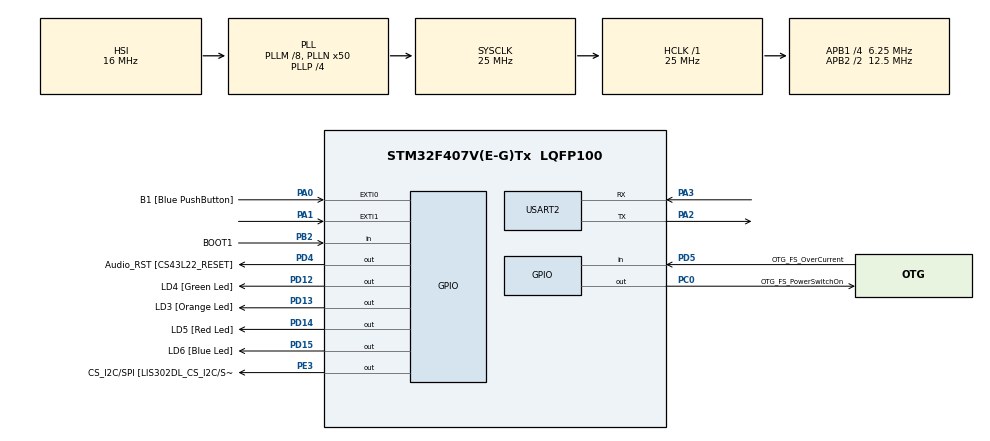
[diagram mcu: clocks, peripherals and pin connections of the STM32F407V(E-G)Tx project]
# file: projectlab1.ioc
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Mcu.Family=STM32F4
Mcu.Name=STM32F407V(E-G)Tx
Mcu.Package=LQFP100
NVIC.EXTI1_IRQn=true\:0\:0\:false\:false\:true\:true
NVIC.PriorityGroup=NVIC_PRIORITYGROUP_0
PA0-WKUP.GPIO_Label=B1 [Blue PushButton]
PA0-WKUP.Signal=GPXTI0
PA1.Signal=GPXTI1
PA10.GPIO_Label=OTG_FS_ID
PA10.GPIO_Mode=GPIO_MODE_AF_PP
PA10.GPIO_PuPd=GPIO_NOPULL
PA10.GPIO_Speed=GPIO_SPEED_FREQ_LOW
PA10.Signal=USB_OTG_FS_ID
PA11.GPIO_Label=OTG_FS_DM
PA11.GPIO_Mode=GPIO_MODE_AF_PP
PA11.GPIO_PuPd=GPIO_NOPULL
PA11.GPIO_Speed=GPIO_SPEED_FREQ_LOW
PA11.Signal=USB_OTG_FS_DM
PA12.GPIO_Label=OTG_FS_DP
PA12.GPIO_Mode=GPIO_MODE_AF_PP
PA12.GPIO_PuPd=GPIO_NOPULL
PA12.GPIO_Speed=GPIO_SPEED_FREQ_LOW
PA12.Signal=USB_OTG_FS_DP
PA13.GPIO_Label=SWDIO
PA13.Signal=SYS_JTMS-SWDIO
PA14.GPIO_Label=SWCLK
PA14.Signal=SYS_JTCK-SWCLK
PA2.Mode=Asynchronous
PA2.Signal=USART2_TX
PA3.Mode=Asynchronous
PA3.Signal=USART2_RX
PA4.GPIO_Label=I2S3_WS [CS43L22_LRCK]
PA4.GPIO_Mode=GPIO_MODE_AF_PP
PA4.GPIO_PuPd=GPIO_NOPULL
PA4.GPIO_Speed=GPIO_SPEED_FREQ_LOW
PA4.Signal=I2S3_WS
PA5.GPIO_Label=SPI1_SCK [LIS302DL_SCL/SPC]
PA5.GPIO_Mode=GPIO_MODE_AF_PP
PA5.GPIO_PuPd=GPIO_NOPULL
PA5.GPIO_Speed=GPIO_SPEED_FREQ_LOW
PA5.Signal=SPI1_SCK
PA6.GPIO_Label=SPI1_MISO [LIS302DL_SDO]
PA6.GPIO_Mode=GPIO_MODE_AF_PP
PA6.GPIO_PuPd=GPIO_NOPULL
PA6.GPIO_Speed=GPIO_SPEED_FREQ_LOW
PA6.Signal=SPI1_MISO
PA7.GPIO_Label=SPI1_MOSI [LIS302DL_SDA/SDI/SDO]
PA7.GPIO_Mode=GPIO_MODE_AF_PP
PA7.GPIO_PuPd=GPIO_NOPULL
PA7.GPIO_Speed=GPIO_SPEED_FREQ_LOW
PA7.Signal=SPI1_MOSI
PA9.GPIO_Label=VBUS_FS
PA9.GPIO_Mode=GPIO_MODE_INPUT
PA9.GPIO_PuPd=GPIO_NOPULL
PA9.Signal=USB_OTG_FS_VBUS
PB10.GPIO_Label=CLK_IN [MP45DT02_CLK]
PB10.GPIO_Mode=GPIO_MODE_AF_PP
PB10.GPIO_PuPd=GPIO_NOPULL
PB10.GPIO_Speed=GPIO_SPEED_FREQ_LOW
PB10.Signal=I2S2_CK
PB2.GPIO_Label=BOOT1
PB2.GPIO_Mode=GPIO_MODE_INPUT
PB2.GPIO_PuPd=GPIO_NOPULL
PB2.Signal=GPIO_Input
PB3.GPIO_Label=SWO
PB3.Signal=SYS_JTDO-SWO
PB6.GPIO_Label=Audio_SCL [CS43L22_SCL]
PB6.GPIO_Mode=GPIO_MODE_AF_OD
PB6.GPIO_PuPd=GPIO_NOPULL
PB6.GPIO_Speed=GPIO_SPEED_FREQ_LOW
PB6.Signal=I2C1_SCL
PB9.GPIO_Label=Audio_SDA [CS43L22_SDA]
PB9.GPIO_Mode=GPIO_MODE_AF_OD
PB9.GPIO_PuPd=GPIO_NOPULL
PB9.GPIO_Speed=GPIO_SPEED_FREQ_LOW
PB9.Signal=I2C1_SDA
PC0.GPIO_Label=OTG_FS_PowerSwitchOn
PC0.GPIO_PuPd=GPIO_NOPULL
PC0.GPIO_Speed=GPIO_SPEED_FREQ_LOW
PC0.PinState=GPIO_PIN_SET
PC0.Signal=GPIO_Output
PC10.GPIO_Label=I2S3_SCK [CS43L22_SCLK]
PC10.GPIO_Mode=GPIO_MODE_AF_PP
PC10.GPIO_PuPd=GPIO_NOPULL
PC10.GPIO_Speed=GPIO_SPEED_FREQ_LOW
PC10.Signal=I2S3_CK
PC12.GPIO_Label=I2S3_SD [CS43L22_SDIN]
PC12.GPIO_Mode=GPIO_MODE_AF_PP
PC12.GPIO_PuPd=GPIO_NOPULL
PC12.GPIO_Speed=GPIO_SPEED_FREQ_LOW
PC12.Signal=I2S3_SD
PC14-OSC32_IN.GPIO_Label=PC14-OSC32_IN
PC14-OSC32_IN.Signal=RCC_OSC32_IN
PC15-OSC32_OUT.GPIO_Label=PC15-OSC32_OUT
PC15-OSC32_OUT.Signal=RCC_OSC32_OUT
PC3.GPIO_Label=PDM_OUT [MP45DT02_DOUT]
PC3.GPIO_Mode=GPIO_MODE_AF_PP
PC3.GPIO_PuPd=GPIO_NOPULL
PC3.GPIO_Speed=GPIO_SPEED_FREQ_LOW
PC3.Signal=I2S2_SD
PC7.GPIO_Label=I2S3_MCK [CS43L22_MCLK]
PC7.GPIO_Mode=GPIO_MODE_AF_PP
PC7.GPIO_PuPd=GPIO_NOPULL
PC7.GPIO_Speed=GPIO_SPEED_FREQ_LOW
PC7.Signal=I2S3_MCK
PD12.GPIO_Label=LD4 [Green Led]
PD12.GPIO_PuPd=GPIO_NOPULL
PD12.GPIO_Speed=GPIO_SPEED_FREQ_LOW
PD12.Signal=GPIO_Output
PD13.GPIO_Label=LD3 [Orange Led]
PD13.GPIO_PuPd=GPIO_NOPULL
PD13.GPIO_Speed=GPIO_SPEED_FREQ_LOW
PD13.Signal=GPIO_Output
PD14.GPIO_Label=LD5 [Red Led]
PD14.GPIO_PuPd=GPIO_NOPULL
PD14.GPIO_Speed=GPIO_SPEED_FREQ_LOW
PD14.Signal=GPIO_Output
PD15.GPIO_Label=LD6 [Blue Led]
PD15.GPIO_PuPd=GPIO_NOPULL
PD15.GPIO_Speed=GPIO_SPEED_FREQ_LOW
PD15.Signal=GPIO_Output
PD4.GPIO_Label=Audio_RST [CS43L22_RESET]
PD4.GPIO_PuPd=GPIO_NOPULL
PD4.GPIO_Speed=GPIO_SPEED_FREQ_LOW
PD4.Signal=GPIO_Output
PD5.GPIO_Label=OTG_FS_OverCurrent
PD5.GPIO_Mode=GPIO_MODE_INPUT
PD5.GPIO_PuPd=GPIO_NOPULL
PD5.Signal=GPIO_Input
PE3.GPIO_Label=CS_I2C/SPI [LIS302DL_CS_I2C/SPI]
PE3.GPIO_PuPd=GPIO_NOPULL
PE3.GPIO_Speed=GPIO_SPEED_FREQ_LOW
PE3.Signal=GPIO_Output
PH0-OSC_IN.GPIO_Label=PH0-OSC_IN
PH0-OSC_IN.Signal=RCC_OSC_IN
PH1-OSC_OUT.GPIO_Label=PH1-OSC_OUT
PH1-OSC_OUT.Signal=RCC_OSC_OUT
ProjectManager.HeapSize=0x200
ProjectManager.StackSize=0x400
ProjectManager.TargetToolchain=SW4STM32
RCC.48MHZClocksFreq_Value=14285714.285714285
RCC.AHBFreq_Value=25000000
RCC.APB1CLKDivider=RCC_HCLK_DIV4
RCC.APB1Freq_Value=6250000
RCC.APB1TimFreq_Value=12500000
RCC.APB2CLKDivider=RCC_HCLK_DIV2
RCC.APB2Freq_Value=12500000
RCC.APB2TimFreq_Value=25000000
RCC.CortexFreq_Value=25000000
RCC.HCLKFreq_Value=25000000
RCC.HSE_VALUE=8000000
RCC.HSI_VALUE=16000000
RCC.LSE_VALUE=32768
RCC.PLLM=8
RCC.PLLN=50
RCC.PLLP=RCC_PLLP_DIV4
RCC.PLLQ=7
RCC.SYSCLKFreq_VALUE=25000000
RCC.SYSCLKSource=RCC_SYSCLKSOURCE_PLLCLK
RCC.VCOOutputFreq_Value=100000000
USART2.VirtualMode=VM_ASYNC
board=STM32F4DISCOVERY

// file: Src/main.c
/**
  ******************************************************************************
  * File Name          : main.c
  * Description        : Main program body
  ******************************************************************************
  ** This notice applies to any and all portions of this file
  * that are not between comment pairs USER CODE BEGIN and
  * USER CODE END. Other portions of this file, whether
  * inserted by the user or by software development tools
  * are owned by their respective copyright owners.
  *
  * COPYRIGHT(c) 2017 STMicroelectronics
  *
  * Redistribution and use in source and binary forms, with or without modification,
  * are permitted provided that the following conditions are met:
  *   1. Redistributions of source code must retain the above copyright notice,
  *      this list of conditions and the following disclaimer.
  *   2. Redistributions in binary form must reproduce the above copyright notice,
  *      this list of conditions and the following disclaimer in the documentation
  *      and/or other materials provided with the distribution.
  *   3. Neither the name of STMicroelectronics nor the names of its contributors
  *      may be used to endorse or promote products derived from this software
  *      without specific prior written permission.
  *
  * THIS SOFTWARE IS PROVIDED BY THE COPYRIGHT HOLDERS AND CONTRIBUTORS "AS IS"
  * AND ANY EXPRESS OR IMPLIED WARRANTIES, INCLUDING, BUT NOT LIMITED TO, THE
  * IMPLIED WARRANTIES OF MERCHANTABILITY AND FITNESS FOR A PARTICULAR PURPOSE ARE
  * DISCLAIMED. IN NO EVENT SHALL THE COPYRIGHT HOLDER OR CONTRIBUTORS BE LIABLE
  * FOR ANY DIRECT, INDIRECT, INCIDENTAL, SPECIAL, EXEMPLARY, OR CONSEQUENTIAL
  * DAMAGES (INCLUDING, BUT NOT LIMITED TO, PROCUREMENT OF SUBSTITUTE GOODS OR
  * SERVICES; LOSS OF USE, DATA, OR PROFITS; OR BUSINESS INTERRUPTION) HOWEVER
  * CAUSED AND ON ANY THEORY OF LIABILITY, WHETHER IN CONTRACT, STRICT LIABILITY,
  * OR TORT (INCLUDING NEGLIGENCE OR OTHERWISE) ARISING IN ANY WAY OUT OF THE USE
  * OF THIS SOFTWARE, EVEN IF ADVISED OF THE POSSIBILITY OF SUCH DAMAGE.
  *
  ******************************************************************************
  */

#include "main.h"
#include "stm32f4xx_hal.h"

UART_HandleTypeDef huart2;

/* USER CODE BEGIN PV */
/* Private variables ---------------------------------------------------------*/
char buff;
char input[5];
int NbTopsFan; //measuring the rising edges of the signal
int Calc;
int hallsensor = 2;    //The pin location of the sensor

/* USER CODE END PV */

void SystemClock_Config(void);
static void MX_GPIO_Init(void);
static void MX_USART2_UART_Init(void);

/* USER CODE BEGIN PFP */
/* Private function prototypes -----------------------------------------------*/

/* USER CODE END PFP */

/* USER CODE BEGIN 0 */
void rpm(){   //This is the function that the interupt calls
	NbTopsFan++;
}
/* USER CODE END 0 */

int main(void)
{

  /* MCU Configuration----------------------------------------------------------*/

  /* Reset of all peripherals, Initializes the Flash interface and the Systick. */
  HAL_Init();

  /* Configure the system clock */
  SystemClock_Config();

  /* Initialize all configured peripherals */
  MX_GPIO_Init();
  MX_USART2_UART_Init();

  /* Infinite loop */
  while (1)
  {

  /* USER CODE BEGIN 3 */
	  if (HAL_UART_Receive(&huart2, &buff, 1, 1) == HAL_OK) {
	 	  	if (buff == 'f') {
	 	 		HAL_GPIO_WritePin(GPIOD, GPIO_PIN_14, 0);
	 		} else if (buff == 'n') {
	 	  		HAL_GPIO_WritePin(GPIOD, GPIO_PIN_14, 1);
	 	  	}
	 }
	 //Send Liquid Sensor Value to UART
	  NbTopsFan = 0;   //Set NbTops to 0 ready for calculations
	  HAL_Delay(1000);
	  Calc = (NbTopsFan * 60 / 7.5);
	  int a=HAL_GPIO_ReadPin(GPIOA,GPIO_PIN_1);
	  char value_buffer[6];
	  sprintf(value_buffer, "%d\n\r", NbTopsFan);
	  HAL_UART_Transmit(&huart2, value_buffer, strlen(value_buffer), 100);
  }
  /* USER CODE END 3 */

}

/** System Clock Configuration
*/
void SystemClock_Config(void)
{

  RCC_OscInitTypeDef RCC_OscInitStruct;
  RCC_ClkInitTypeDef RCC_ClkInitStruct;

    /**Configure the main internal regulator output voltage
    */
  __HAL_RCC_PWR_CLK_ENABLE();

  __HAL_PWR_VOLTAGESCALING_CONFIG(PWR_REGULATOR_VOLTAGE_SCALE1);

    /**Initializes the CPU, AHB and APB busses clocks
    */
  RCC_OscInitStruct.OscillatorType = RCC_OSCILLATORTYPE_HSI;
  RCC_OscInitStruct.HSIState = RCC_HSI_ON;
  RCC_OscInitStruct.HSICalibrationValue = 16;
  RCC_OscInitStruct.PLL.PLLState = RCC_PLL_ON;
  RCC_OscInitStruct.PLL.PLLSource = RCC_PLLSOURCE_HSI;
  RCC_OscInitStruct.PLL.PLLM = 8;
  RCC_OscInitStruct.PLL.PLLN = 50;
  RCC_OscInitStruct.PLL.PLLP = RCC_PLLP_DIV4;
  RCC_OscInitStruct.PLL.PLLQ = 7;
  if (HAL_RCC_OscConfig(&RCC_OscInitStruct) != HAL_OK)
  {
    _Error_Handler(__FILE__, __LINE__);
  }

    /**Initializes the CPU, AHB and APB busses clocks
    */
  RCC_ClkInitStruct.ClockType = RCC_CLOCKTYPE_HCLK|RCC_CLOCKTYPE_SYSCLK
                              |RCC_CLOCKTYPE_PCLK1|RCC_CLOCKTYPE_PCLK2;
  RCC_ClkInitStruct.SYSCLKSource = RCC_SYSCLKSOURCE_PLLCLK;
  RCC_ClkInitStruct.AHBCLKDivider = RCC_SYSCLK_DIV1;
  RCC_ClkInitStruct.APB1CLKDivider = RCC_HCLK_DIV4;
  RCC_ClkInitStruct.APB2CLKDivider = RCC_HCLK_DIV2;

  if (HAL_RCC_ClockConfig(&RCC_ClkInitStruct, FLASH_LATENCY_0) != HAL_OK)
  {
    _Error_Handler(__FILE__, __LINE__);
  }

    /**Configure the Systick interrupt time
    */
  HAL_SYSTICK_Config(HAL_RCC_GetHCLKFreq()/1000);

    /**Configure the Systick
    */
  HAL_SYSTICK_CLKSourceConfig(SYSTICK_CLKSOURCE_HCLK);

  /* SysTick_IRQn interrupt configuration */
  HAL_NVIC_SetPriority(SysTick_IRQn, 0, 0);
}

/* USART2 init function */
static void MX_USART2_UART_Init(void)
{

  huart2.Instance = USART2;
  huart2.Init.BaudRate = 115200;
  huart2.Init.WordLength = UART_WORDLENGTH_8B;
  huart2.Init.StopBits = UART_STOPBITS_1;
  huart2.Init.Parity = UART_PARITY_NONE;
  huart2.Init.Mode = UART_MODE_TX_RX;
  huart2.Init.HwFlowCtl = UART_HWCONTROL_NONE;
  huart2.Init.OverSampling = UART_OVERSAMPLING_16;
  if (HAL_UART_Init(&huart2) != HAL_OK)
  {
    _Error_Handler(__FILE__, __LINE__);
  }

}

/** Configure pins as
        * Analog
        * Input
        * Output
        * EVENT_OUT
        * EXTI
     PC3   ------> I2S2_SD
     PA4   ------> I2S3_WS
     PA5   ------> SPI1_SCK
     PA6   ------> SPI1_MISO
     PA7   ------> SPI1_MOSI
     PB10   ------> I2S2_CK
     PC7   ------> I2S3_MCK
     PA9   ------> USB_OTG_FS_VBUS
     PA10   ------> USB_OTG_FS_ID
     PA11   ------> USB_OTG_FS_DM
     PA12   ------> USB_OTG_FS_DP
     PC10   ------> I2S3_CK
     PC12   ------> I2S3_SD
     PB6   ------> I2C1_SCL
     PB9   ------> I2C1_SDA
*/
static void MX_GPIO_Init(void)
{

  GPIO_InitTypeDef GPIO_InitStruct;

  /* GPIO Ports Clock Enable */
  __HAL_RCC_GPIOE_CLK_ENABLE();
  __HAL_RCC_GPIOC_CLK_ENABLE();
  __HAL_RCC_GPIOH_CLK_ENABLE();
  __HAL_RCC_GPIOA_CLK_ENABLE();
  __HAL_RCC_GPIOB_CLK_ENABLE();
  __HAL_RCC_GPIOD_CLK_ENABLE();

  /*Configure GPIO pin Output Level */
  HAL_GPIO_WritePin(CS_I2C_SPI_GPIO_Port, CS_I2C_SPI_Pin, GPIO_PIN_RESET);

  /*Configure GPIO pin Output Level */
  HAL_GPIO_WritePin(OTG_FS_PowerSwitchOn_GPIO_Port, OTG_FS_PowerSwitchOn_Pin, GPIO_PIN_SET);

  /*Configure GPIO pin Output Level */
  HAL_GPIO_WritePin(GPIOD, LD4_Pin|LD3_Pin|LD5_Pin|LD6_Pin
                          |Audio_RST_Pin, GPIO_PIN_RESET);

  /*Configure GPIO pin : CS_I2C_SPI_Pin */
  GPIO_InitStruct.Pin = CS_I2C_SPI_Pin;
  GPIO_InitStruct.Mode = GPIO_MODE_OUTPUT_PP;
  GPIO_InitStruct.Pull = GPIO_NOPULL;
  GPIO_InitStruct.Speed = GPIO_SPEED_FREQ_LOW;
  HAL_GPIO_Init(CS_I2C_SPI_GPIO_Port, &GPIO_InitStruct);

  /*Configure GPIO pin : OTG_FS_PowerSwitchOn_Pin */
  GPIO_InitStruct.Pin = OTG_FS_PowerSwitchOn_Pin;
  GPIO_InitStruct.Mode = GPIO_MODE_OUTPUT_PP;
  GPIO_InitStruct.Pull = GPIO_NOPULL;
  GPIO_InitStruct.Speed = GPIO_SPEED_FREQ_LOW;
  HAL_GPIO_Init(OTG_FS_PowerSwitchOn_GPIO_Port, &GPIO_InitStruct);

  /*Configure GPIO pin : PDM_OUT_Pin */
  GPIO_InitStruct.Pin = PDM_OUT_Pin;
  GPIO_InitStruct.Mode = GPIO_MODE_AF_PP;
  GPIO_InitStruct.Pull = GPIO_NOPULL;
  GPIO_InitStruct.Speed = GPIO_SPEED_FREQ_LOW;
  GPIO_InitStruct.Alternate = GPIO_AF5_SPI2;
  HAL_GPIO_Init(PDM_OUT_GPIO_Port, &GPIO_InitStruct);

  /*Configure GPIO pins : B1_Pin PA1 */
  GPIO_InitStruct.Pin = B1_Pin|GPIO_PIN_1;
  GPIO_InitStruct.Mode = GPIO_MODE_IT_RISING;
  GPIO_InitStruct.Pull = GPIO_NOPULL;
  HAL_GPIO_Init(GPIOA, &GPIO_InitStruct);

  /*Configure GPIO pin : I2S3_WS_Pin */
  GPIO_InitStruct.Pin = I2S3_WS_Pin;
  GPIO_InitStruct.Mode = GPIO_MODE_AF_PP;
  GPIO_InitStruct.Pull = GPIO_NOPULL;
  GPIO_InitStruct.Speed = GPIO_SPEED_FREQ_LOW;
  GPIO_InitStruct.Alternate = GPIO_AF6_SPI3;
  HAL_GPIO_Init(I2S3_WS_GPIO_Port, &GPIO_InitStruct);

  /*Configure GPIO pins : SPI1_SCK_Pin SPI1_MISO_Pin SPI1_MOSI_Pin */
  GPIO_InitStruct.Pin = SPI1_SCK_Pin|SPI1_MISO_Pin|SPI1_MOSI_Pin;
  GPIO_InitStruct.Mode = GPIO_MODE_AF_PP;
  GPIO_InitStruct.Pull = GPIO_NOPULL;
  GPIO_InitStruct.Speed = GPIO_SPEED_FREQ_LOW;
  GPIO_InitStruct.Alternate = GPIO_AF5_SPI1;
  HAL_GPIO_Init(GPIOA, &GPIO_InitStruct);

  /*Configure GPIO pin : BOOT1_Pin */
  GPIO_InitStruct.Pin = BOOT1_Pin;
  GPIO_InitStruct.Mode = GPIO_MODE_INPUT;
  GPIO_InitStruct.Pull = GPIO_NOPULL;
  HAL_GPIO_Init(BOOT1_GPIO_Port, &GPIO_InitStruct);

  /*Configure GPIO pin : CLK_IN_Pin */
  GPIO_InitStruct.Pin = CLK_IN_Pin;
  GPIO_InitStruct.Mode = GPIO_MODE_AF_PP;
  GPIO_InitStruct.Pull = GPIO_NOPULL;
  GPIO_InitStruct.Speed = GPIO_SPEED_FREQ_LOW;
  GPIO_InitStruct.Alternate = GPIO_AF5_SPI2;
  HAL_GPIO_Init(CLK_IN_GPIO_Port, &GPIO_InitStruct);

  /*Configure GPIO pins : LD4_Pin LD3_Pin LD5_Pin LD6_Pin
                           Audio_RST_Pin */
  GPIO_InitStruct.Pin = LD4_Pin|LD3_Pin|LD5_Pin|LD6_Pin
                          |Audio_RST_Pin;
  GPIO_InitStruct.Mode = GPIO_MODE_OUTPUT_PP;
  GPIO_InitStruct.Pull = GPIO_NOPULL;
  GPIO_InitStruct.Speed = GPIO_SPEED_FREQ_LOW;
  HAL_GPIO_Init(GPIOD, &GPIO_InitStruct);

  /*Configure GPIO pins : I2S3_MCK_Pin I2S3_SCK_Pin I2S3_SD_Pin */
  GPIO_InitStruct.Pin = I2S3_MCK_Pin|I2S3_SCK_Pin|I2S3_SD_Pin;
  GPIO_InitStruct.Mode = GPIO_MODE_AF_PP;
  GPIO_InitStruct.Pull = GPIO_NOPULL;
  GPIO_InitStruct.Speed = GPIO_SPEED_FREQ_LOW;
  GPIO_InitStruct.Alternate = GPIO_AF6_SPI3;
  HAL_GPIO_Init(GPIOC, &GPIO_InitStruct);

  /*Configure GPIO pin : VBUS_FS_Pin */
  GPIO_InitStruct.Pin = VBUS_FS_Pin;
  GPIO_InitStruct.Mode = GPIO_MODE_INPUT;
  GPIO_InitStruct.Pull = GPIO_NOPULL;
  HAL_GPIO_Init(VBUS_FS_GPIO_Port, &GPIO_InitStruct);

  /*Configure GPIO pins : OTG_FS_ID_Pin OTG_FS_DM_Pin OTG_FS_DP_Pin */
  GPIO_InitStruct.Pin = OTG_FS_ID_Pin|OTG_FS_DM_Pin|OTG_FS_DP_Pin;
  GPIO_InitStruct.Mode = GPIO_MODE_AF_PP;
  GPIO_InitStruct.Pull = GPIO_NOPULL;
  GPIO_InitStruct.Speed = GPIO_SPEED_FREQ_LOW;
  GPIO_InitStruct.Alternate = GPIO_AF10_OTG_FS;
  HAL_GPIO_Init(GPIOA, &GPIO_InitStruct);

  /*Configure GPIO pin : OTG_FS_OverCurrent_Pin */
  GPIO_InitStruct.Pin = OTG_FS_OverCurrent_Pin;
  GPIO_InitStruct.Mode = GPIO_MODE_INPUT;
  GPIO_InitStruct.Pull = GPIO_NOPULL;
  HAL_GPIO_Init(OTG_FS_OverCurrent_GPIO_Port, &GPIO_InitStruct);

  /*Configure GPIO pins : Audio_SCL_Pin Audio_SDA_Pin */
  GPIO_InitStruct.Pin = Audio_SCL_Pin|Audio_SDA_Pin;
  GPIO_InitStruct.Mode = GPIO_MODE_AF_OD;
  GPIO_InitStruct.Pull = GPIO_PULLUP;
  GPIO_InitStruct.Speed = GPIO_SPEED_FREQ_LOW;
  GPIO_InitStruct.Alternate = GPIO_AF4_I2C1;
  HAL_GPIO_Init(GPIOB, &GPIO_InitStruct);

  /* EXTI interrupt init*/
  HAL_NVIC_SetPriority(EXTI1_IRQn, 0, 0);
  HAL_NVIC_EnableIRQ(EXTI1_IRQn);

}

void _Error_Handler(char * file, int line)
{
  while(1)
  {
  }
}

/************************ (C) COPYRIGHT STMicroelectronics *****END OF FILE****/
